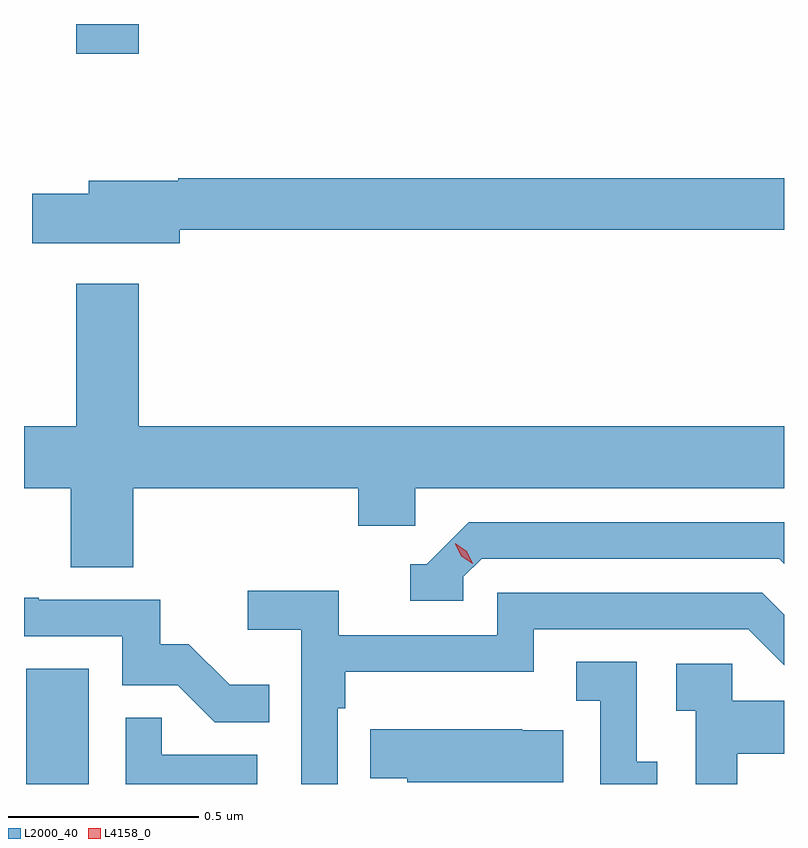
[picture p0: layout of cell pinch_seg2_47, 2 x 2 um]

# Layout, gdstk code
import gdstk
lib = gdstk.Library(unit=1e-6, precision=1e-09)
def R(c, l, rs):  # rectangles x0, y0, x1, y1
    for r in rs: c.add(gdstk.rectangle(r[:2], r[2:], *l))
def P(c, l, *ps):  # polygons
    for p in ps: c.add(gdstk.Polygon(p, *l))
L2000_40 = (2000, 40)
L4158_0 = (4158, 0)

pinch_seg2_47 = lib.new_cell('pinch_seg2_47')
R(pinch_seg2_47, L2000_40, [(1141.898,649.522,1142.062,649.825), (1142.03,651.444,1142.194,651.522)])
P(pinch_seg2_47, L2000_40, [(1142.302,650.98),(1143.892,650.98),(1143.892,651.116),(1142.298,651.116),(1142.298,651.109),(1142.063,651.109),(1142.063,651.075),(1141.914,651.075),(1141.914,650.945),(1142.302,650.945)],
  [(1142.18,650.3),(1142.771,650.3),(1142.771,650.202),(1142.922,650.202),(1142.922,650.3),(1143.892,650.3),(1143.892,650.464),(1142.194,650.464),(1142.194,650.839),(1142.03,650.839),(1142.03,650.464),(1141.892,650.464),(1141.892,650.3),(1142.015,650.3),(1142.015,650.092),(1142.18,650.092)],
  [(1143.048,650.067),(1143.096,650.115),(1143.879,650.115),(1143.892,650.102),(1143.892,650.211),(1143.063,650.211),(1142.952,650.1),(1142.909,650.1),(1142.909,650.004),(1143.048,650.004)],
  [(1142.718,649.721),(1142.738,649.721),(1142.738,649.817),(1143.234,649.817),(1143.234,649.929),(1143.798,649.929),(1143.892,649.835),(1143.892,649.968),(1143.835,650.025),(1143.138,650.025),(1143.138,649.914),(1142.72,649.914),(1142.72,650.03),(1142.481,650.03),(1142.481,649.928),(1142.622,649.928),(1142.622,649.522),(1142.718,649.522)],
  [(1142.537,649.783),(1142.433,649.783),(1142.326,649.89),(1142.25,649.89),(1142.25,650.007),(1141.931,650.007),(1141.931,650.012),(1141.892,650.012),(1141.892,649.911),(1142.151,649.911),(1142.151,649.782),(1142.296,649.782),(1142.394,649.684),(1142.537,649.684)],
  [(1143.559,649.581),(1143.504,649.581),(1143.504,649.844),(1143.345,649.844),(1143.345,649.741),(1143.408,649.741),(1143.408,649.522),(1143.559,649.522)],
  [(1143.769,649.601),(1143.892,649.601),(1143.892,649.741),(1143.756,649.741),(1143.756,649.839),(1143.609,649.839),(1143.609,649.715),(1143.66,649.715),(1143.66,649.522),(1143.769,649.522)],
  [(1142.506,649.599),(1142.255,649.599),(1142.255,649.697),(1142.16,649.697),(1142.16,649.522),(1142.506,649.522)],
  [(1143.311,649.663),(1143.203,649.663),(1143.203,649.666),(1142.803,649.666),(1142.803,649.537),(1142.901,649.537),(1142.901,649.526),(1143.311,649.526)])
P(pinch_seg2_47, L4158_0, [(1143.073,650.102),(1143.042,650.122),(1143.027,650.154),(1143.027,650.155),(1143.027,650.155),(1143.057,650.135),(1143.073,650.102),(1143.073,650.102)])

lib.write_gds('pinch_seg2_47.gds')
